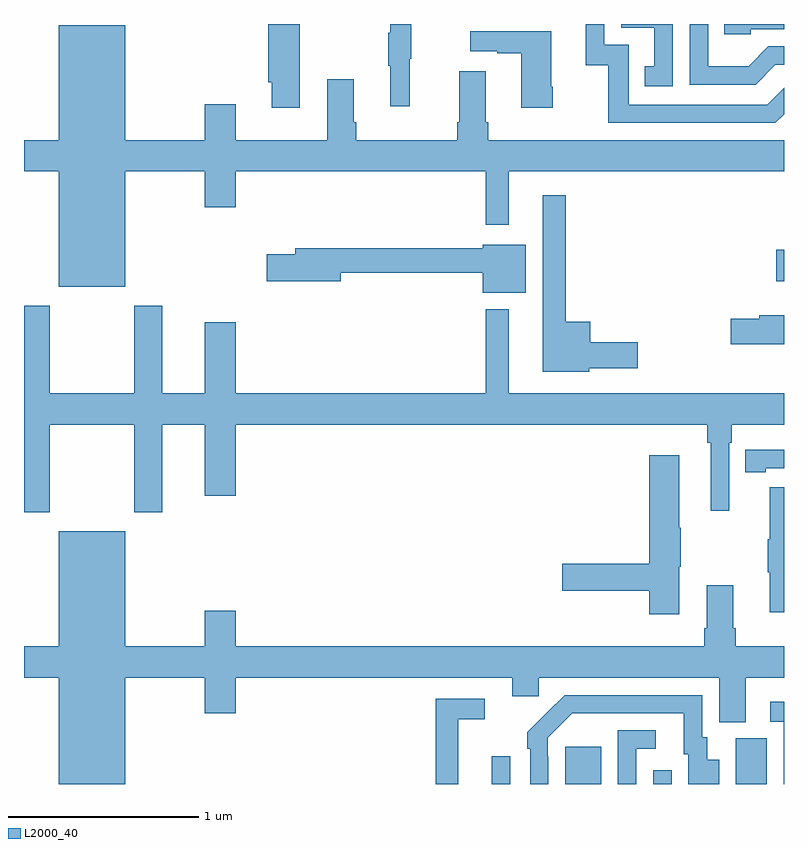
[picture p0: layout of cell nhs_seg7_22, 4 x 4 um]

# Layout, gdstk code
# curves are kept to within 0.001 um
import gdstk
lib = gdstk.Library(unit=1e-6, precision=1e-09)
def R(c, l, rs):  # rectangles x0, y0, x1, y1
    for r in rs: c.add(gdstk.rectangle(r[:2], r[2:], *l))
def P(c, l, *ps):  # polygons
    for p in ps: c.add(gdstk.Polygon(p, *l))
L2000_40 = (2000, 40)

nhs_seg7_22 = lib.new_cell('nhs_seg7_22')
R(nhs_seg7_22, L2000_40, [(113.463,1056,113.559,1056.145), (113.849,1056,114.037,1056.196), (114.312,1056,114.408,1056.073), (114.746,1056,114.91,1056.24), (114.96,1058.645,115,1058.811)])
P(nhs_seg7_22, L2000_40, [(115,1059.526),(115,1059.664),(114.912,1059.576),(114.183,1059.576),(114.183,1059.891),(114.054,1059.891),(114.054,1060),(113.957,1060),(113.957,1059.783),(114.075,1059.783),(114.075,1059.48),(114.954,1059.48)],
  [(113.03,1059.816),(113.038,1059.816),(113.038,1060),(112.928,1060),(112.928,1059.953),(112.917,1059.953),(112.917,1059.779),(112.928,1059.779),(112.928,1059.567),(113.03,1059.567)],
  [(114.825,1059.972),(115,1059.972),(115,1060),(114.685,1060),(114.685,1059.945),(114.825,1059.945)],
  [(114.414,1060),(114.144,1060),(114.144,1059.981),(114.317,1059.981),(114.317,1059.777),(114.268,1059.777),(114.268,1059.672),(114.414,1059.672)],
  [(114.955,1059.786),(115,1059.786),(115,1059.882),(114.918,1059.882),(114.814,1059.778),(114.6,1059.778),(114.6,1060),(114.504,1060),(114.504,1059.681),(114.85,1059.681)],
  [(112.45,1060),(112.286,1060),(112.286,1059.693),(112.304,1059.693),(112.304,1059.558),(112.45,1059.558)],
  [(111.532,1059.224),(111.95,1059.224),(111.95,1059.036),(112.114,1059.036),(112.114,1059.224),(113.43,1059.224),(113.43,1058.943),(113.551,1058.943),(113.551,1059.224),(115,1059.224),(115,1059.388),(113.444,1059.388),(113.444,1059.484),(113.431,1059.484),(113.431,1059.751),(113.291,1059.751),(113.291,1059.484),(113.279,1059.484),(113.279,1059.388),(112.748,1059.388),(112.748,1059.484),(112.735,1059.484),(112.735,1059.709),(112.595,1059.709),(112.595,1059.388),(112.114,1059.388),(112.114,1059.577),(111.95,1059.577),(111.95,1059.388),(111.532,1059.388),(111.532,1059.994),(111.182,1059.994),(111.182,1059.388),(111,1059.388),(111,1059.224),(111.182,1059.224),(111.182,1058.618),(111.532,1058.618)],
  [(113.784,1059.67),(113.776,1059.67),(113.776,1059.961),(113.349,1059.961),(113.349,1059.857),(113.492,1059.857),(113.492,1059.847),(113.618,1059.847),(113.618,1059.558),(113.784,1059.558)],
  [(113.976,1058.189),(114.229,1058.189),(114.229,1058.324),(113.98,1058.324),(113.98,1058.434),(113.851,1058.434),(113.851,1059.1),(113.729,1059.1),(113.729,1058.171),(113.976,1058.171)],
  [(113.641,1058.839),(113.414,1058.839),(113.414,1058.821),(112.427,1058.821),(112.427,1058.787),(112.278,1058.787),(112.278,1058.645),(112.666,1058.645),(112.666,1058.692),(113.414,1058.692),(113.414,1058.585),(113.641,1058.585)],
  [(111.135,1057.892),(111.58,1057.892),(111.58,1057.431),(111.727,1057.431),(111.727,1057.892),(111.95,1057.892),(111.95,1057.518),(112.114,1057.518),(112.114,1057.892),(114.595,1057.892),(114.595,1057.796),(114.614,1057.796),(114.614,1057.437),(114.711,1057.437),(114.711,1057.796),(114.725,1057.796),(114.725,1057.892),(115,1057.892),(115,1058.056),(113.551,1058.056),(113.551,1058.5),(113.43,1058.5),(113.43,1058.056),(112.114,1058.056),(112.114,1058.431),(111.95,1058.431),(111.95,1058.056),(111.727,1058.056),(111.727,1058.518),(111.58,1058.518),(111.58,1058.056),(111.135,1058.056),(111.135,1058.518),(111,1058.518),(111,1057.431),(111.135,1057.431)],
  [(115,1058.467),(114.869,1058.467),(114.869,1058.45),(114.72,1058.45),(114.72,1058.315),(115,1058.315)],
  [(114.904,1057.662),(115,1057.662),(115,1057.759),(114.904,1057.759),(114.904,1057.758),(114.796,1057.758),(114.796,1057.642),(114.904,1057.642)],
  [(114.448,1057.143),(114.456,1057.143),(114.456,1057.349),(114.448,1057.349),(114.448,1057.729),(114.29,1057.729),(114.29,1057.16),(113.832,1057.16),(113.832,1057.018),(114.29,1057.018),(114.29,1056.894),(114.448,1056.894)],
  [(115,1057.561),(114.926,1057.561),(114.926,1057.289),(114.915,1057.289),(114.915,1057.115),(114.926,1057.115),(114.926,1056.903),(115,1056.903)],
  [(111.532,1056.56),(111.95,1056.56),(111.95,1056.372),(112.114,1056.372),(112.114,1056.56),(113.57,1056.56),(113.57,1056.462),(113.709,1056.462),(113.709,1056.56),(114.659,1056.56),(114.659,1056.325),(114.799,1056.325),(114.799,1056.56),(115,1056.56),(115,1056.724),(114.746,1056.724),(114.746,1056.82),(114.733,1056.82),(114.733,1057.045),(114.593,1057.045),(114.593,1056.82),(114.581,1056.82),(114.581,1056.724),(112.114,1056.724),(112.114,1056.913),(111.95,1056.913),(111.95,1056.724),(111.532,1056.724),(111.532,1057.33),(111.182,1057.33),(111.182,1056.724),(111,1056.724),(111,1056.56),(111.182,1056.56),(111.182,1056),(111.532,1056)],
  [(113.76,1056.143),(113.757,1056.143),(113.757,1056.243),(113.886,1056.372),(114.473,1056.372),(114.473,1056.156),(114.497,1056.156),(114.497,1056),(114.658,1056),(114.658,1056.127),(114.595,1056.127),(114.595,1056.246),(114.57,1056.246),(114.57,1056.468),(113.846,1056.468),(113.649,1056.273),(113.649,1056.185),(113.664,1056.185),(113.664,1056),(113.76,1056)],
  [(113.285,1056.342),(113.425,1056.342),(113.425,1056.45),(113.167,1056.45),(113.167,1056),(113.285,1056)],
  [(115,1056.433),(114.927,1056.433),(114.927,1056.327),(114.999,1056.327),(114.999,1056),(115,1056)],
  [(114.222,1056.186),(114.325,1056.186),(114.325,1056.282),(114.126,1056.282),(114.126,1056),(114.222,1056)])

lib.write_gds('nhs_seg7_22.gds')
